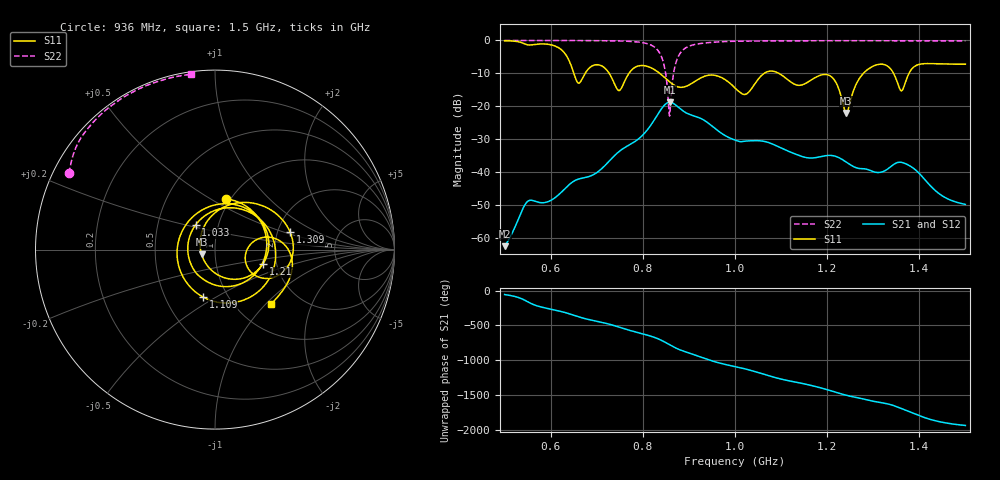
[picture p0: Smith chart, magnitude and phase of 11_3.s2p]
! TOUCHSTONE file generated by CST MICROWAVE STUDIO
! Date and time: Fri Dec 11 13:54:57 2020
! Project name: Scenario_1_Planar_Body_Tissue_Out_of_Line_v2.cst
! Parameters = {dy1=-173; L_HA=400; Ltissue=700; MT=2.54; Rad_Dielectric=30; Rad_Lower=7.3; Rad_Upper=30; Wtissue=700; a_HA=580; a_WG=246; b_HA=500; b_WG=121; c_HA=0; c_WG=187; d_feed=85; dx1=520; h_feed=15; h_lower=18; h_upper=40; hfat=3; hgap=25; hmuscle=50; hskin=1.5}
! Header version: 2018
! Port assignment regex: !\s*Touchstone port\s*([0-9]+)\s*=\s*(CST MWS port|CST DS port)\s*([0-9]+|Zmin|Zmax)\s*\(\"(.*)\"\)(\s*mode\s*([0-9]+))?.*
! Touchstone port assignment:
! Touchstone port 1 = CST MWS port 1 ("")
! Touchstone port 2 = CST MWS port 2 ("")
# GHz S DB R 50
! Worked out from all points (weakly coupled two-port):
!   1003 points, 500 MHz to 1.5 GHz, reference 50 ohm
!   highest |S21| = -18.74 dB at 858 MHz (marker M1); lowest = -62.4 dB at 500 MHz (marker M2)
!   lowest |S11| = -22.0 dB at 1.241 GHz (marker M3), VSWR 1.17, Z = 43 - j2.3 ohm
!   |S11| at or under -10 dB: 727 MHz to 769.8 MHz (42.75 MHz wide, 5.71 % of centre); 836.8 MHz to 1.063 GHz (226.4 MHz wide, 23.8 % of centre); 1.095 GHz to 1.279 GHz (183.2 MHz wide, 15.4 % of centre) (the widest 3 of 5)
!   |S22| runs from -22.9 to 0.0 dB; largest |S21 - S12| = 1.6e-06
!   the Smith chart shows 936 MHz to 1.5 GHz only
!   S11 on the Smith chart (normalised r, x): 936 MHz: 0.96, +0.59; 1.033 GHz: 0.78, +0.22; 1.109 GHz: 0.77, -0.44; 1.21 GHz: 1.69, -0.30; 1.309 GHz: 2.34, +0.57; 1.5 GHz: 1.44, -1.07
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0.5  -0.08 -121.9  -62.39 -56.7  -62.39 -56.7  -0.01 151.2
0.549  -1.30 -145.9  -48.93 -156.7  -48.93 -156.7  -0.01 147.9
0.599  -1.29 -175.8  -48.60 95.4  -48.60 95.4  -0.02 144.2
0.634  -4.59 143.5  -44.54 40.0  -44.54 40.0  -0.03 141.4
0.667  -12.01 169.9  -41.80 -28.4  -41.80 -28.4  -0.04 138.4
0.742  -14.23 14.0  -34.47 -150.3  -34.47 -150.3  -0.14 128.9
0.788  -7.84 162.9  -30.14 119.9  -30.14 119.9  -0.46 117.6
0.834  -9.70 49.2  -22.09 26.4  -22.09 26.4  -3.27 84.0
0.858  -12.54 -15.6  -18.74 -56.6  -18.74 -56.6  -22.94 -50.6
0.88  -14.20 -86.1  -20.62 -127.6  -20.62 -127.6  -4.09 -172.1
0.936  -10.77 77.5  -24.47 102.6  -24.47 102.6  -0.75 152.4
1  -14.41 -97.2  -30.21 -10.6  -30.21 -10.6  -0.25 140.3
1.033  -15.15 128.4  -30.44 -61.4  -30.44 -61.4  -0.19 136.2
1.072  -9.40 -2.9  -30.93 -137.7  -30.93 -137.7  -0.14 132.3
1.109  -11.31 -104.4  -33.19 157.9  -33.19 157.9  -0.12 128.9
1.167  -11.85 83.5  -35.66 77.7  -35.66 77.7  -0.10 124.2
1.21  -11.10 -16.9  -34.90 0.4  -34.90 0.4  -0.09 120.9
1.241  -22.03 -160.3  -36.85 -59.4  -36.85 -59.4  -0.09 118.5
1.309  -7.34 13.3  -40.05 -156.8  -40.05 -156.8  -0.08 113.4
1.334  -8.10 -19.5  -38.71 171.9  -38.71 171.9  -0.08 111.5
1.361  -15.27 -10.2  -36.97 109.1  -36.97 109.1  -0.09 109.4
1.5  -7.22 -44.0  -49.72 -132.9  -49.72 -132.9  -0.13 98.0
